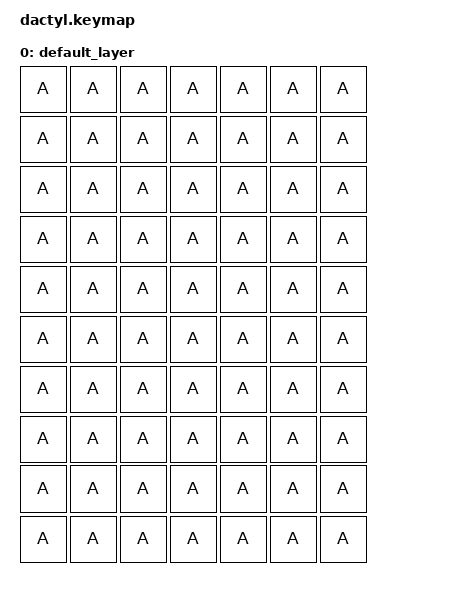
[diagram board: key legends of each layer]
#include <behaviors.dtsi>
#include <dt-bindings/zmk/keys.h>
#include <dt-bindings/zmk/bt.h>

/ {
    keymap {
        compatible = "zmk,keymap";

        default_layer {
            bindings = <
                /* Ліва половинка (35 кнопок) */
                &kp A &kp A &kp A &kp A &kp A &kp A &kp A
                &kp A &kp A &kp A &kp A &kp A &kp A &kp A
                &kp A &kp A &kp A &kp A &kp A &kp A &kp A
                &kp A &kp A &kp A &kp A &kp A &kp A &kp A
                &kp A &kp A &kp A &kp A &kp A &kp A &kp A

                /* Права половинка (35 кнопок) */
                &kp A &kp A &kp A &kp A &kp A &kp A &kp A
                &kp A &kp A &kp A &kp A &kp A &kp A &kp A
                &kp A &kp A &kp A &kp A &kp A &kp A &kp A
                &kp A &kp A &kp A &kp A &kp A &kp A &kp A
                &kp A &kp A &kp A &kp A &kp A &kp A &kp A
            >;
        };
    };
};
